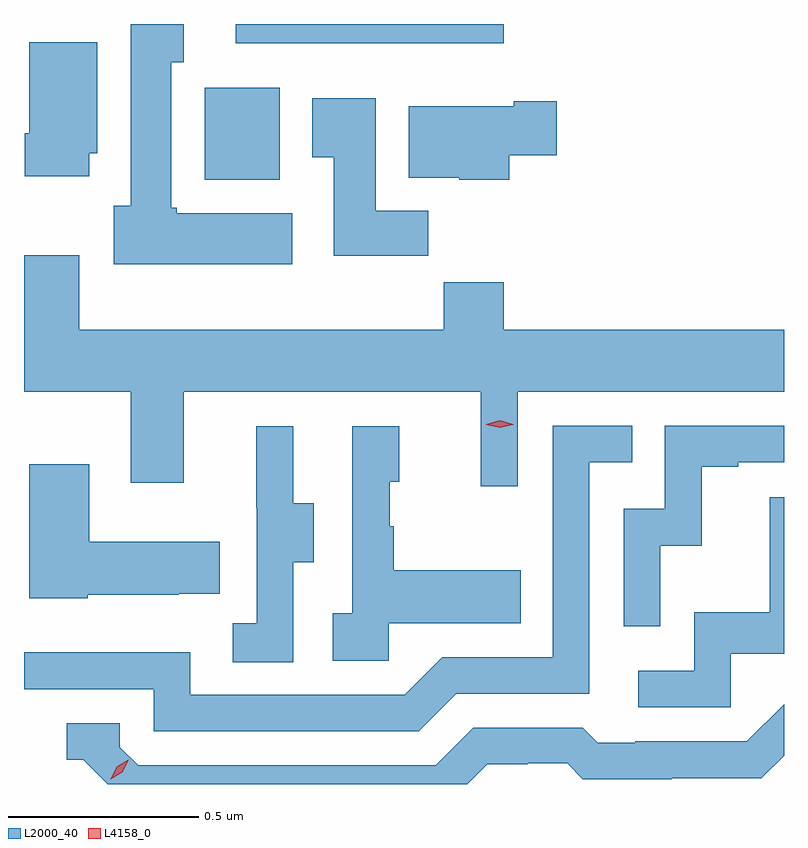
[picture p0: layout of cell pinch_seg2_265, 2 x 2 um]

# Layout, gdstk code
import gdstk
lib = gdstk.Library(unit=1e-6, precision=1e-09)
def R(c, l, rs):  # rectangles x0, y0, x1, y1
    for r in rs: c.add(gdstk.rectangle(r[:2], r[2:], *l))
def P(c, l, *ps):  # polygons
    for p in ps: c.add(gdstk.Polygon(p, *l))
L2000_40 = (2000, 40)
L4158_0 = (4158, 0)

pinch_seg2_265 = lib.new_cell('pinch_seg2_265')
R(pinch_seg2_265, L2000_40, [(897.518,665.51,897.715,665.752), (897.599,665.87,898.304,665.92)])
P(pinch_seg2_265, L2000_40, [(897.748,665.422),(897.444,665.422),(897.444,665.436),(897.43,665.436),(897.43,665.819),(897.463,665.819),(897.463,665.92),(897.323,665.92),(897.323,665.442),(897.278,665.442),(897.278,665.288),(897.748,665.288)],
  [(897.214,665.58),(897.235,665.58),(897.235,665.872),(897.056,665.872),(897.056,665.632),(897.044,665.632),(897.044,665.52),(897.214,665.52)],
  [(898.106,665.428),(897.967,665.428),(897.967,665.725),(897.8,665.725),(897.8,665.569),(897.857,665.569),(897.857,665.31),(898.106,665.31)],
  [(898.319,665.575),(898.444,665.575),(898.444,665.717),(898.331,665.717),(898.331,665.704),(898.055,665.704),(898.055,665.516),(898.188,665.516),(898.188,665.51),(898.319,665.51)],
  [(898.341,664.952),(899.042,664.952),(899.042,665.116),(898.304,665.116),(898.304,665.24),(898.147,665.24),(898.147,665.116),(897.187,665.116),(897.187,665.311),(897.042,665.311),(897.042,664.952),(897.323,664.952),(897.323,664.713),(897.463,664.713),(897.463,664.952),(898.244,664.952),(898.244,664.704),(898.341,664.704)],
  [(898.18,664.158),(898.53,664.158),(898.53,664.767),(898.643,664.767),(898.643,664.863),(898.434,664.863),(898.434,664.254),(898.143,664.254),(898.044,664.155),(897.48,664.155),(897.48,664.267),(897.042,664.267),(897.042,664.17),(897.384,664.17),(897.384,664.059),(898.081,664.059)],
  [(898.716,664.547),(898.826,664.547),(898.826,664.755),(898.921,664.755),(898.921,664.767),(899.042,664.767),(899.042,664.863),(898.728,664.863),(898.728,664.644),(898.62,664.644),(898.62,664.335),(898.716,664.335)],
  [(897.75,664.504),(897.805,664.504),(897.805,664.659),(897.751,664.659),(897.751,664.861),(897.653,664.861),(897.653,664.647),(897.654,664.647),(897.654,664.343),(897.591,664.343),(897.591,664.24),(897.75,664.24)],
  [(898.002,664.343),(898.349,664.343),(898.349,664.483),(898.015,664.483),(898.015,664.598),(898.005,664.598),(898.005,664.716),(898.03,664.716),(898.03,664.861),(897.906,664.861),(897.906,664.37),(897.855,664.37),(897.855,664.245),(898.002,664.245)],
  [(897.21,664.418),(897.449,664.418),(897.449,664.421),(897.557,664.421),(897.557,664.558),(897.214,664.558),(897.214,664.762),(897.056,664.762),(897.056,664.409),(897.21,664.409)],
  [(898.902,664.263),(899.042,664.263),(899.042,664.675),(899.005,664.675),(899.005,664.372),(898.806,664.372),(898.806,664.218),(898.659,664.218),(898.659,664.122),(898.902,664.122)],
  [(898.261,663.972),(898.368,663.972),(898.368,663.975),(898.471,663.975),(898.513,663.933),(898.746,663.933),(898.746,663.935),(898.982,663.935),(899.042,663.995),(899.042,664.13),(898.944,664.032),(898.651,664.032),(898.651,664.029),(898.552,664.029),(898.513,664.068),(898.224,664.068),(898.125,663.969),(897.342,663.969),(897.294,664.017),(897.294,664.08),(897.155,664.08),(897.155,663.984),(897.198,663.984),(897.262,663.92),(898.209,663.92)])
P(pinch_seg2_265, L4158_0, [(898.294,664.857),(898.259,664.866),(898.259,664.867),(898.259,664.867),(898.294,664.877),(898.329,664.867),(898.329,664.867),(898.329,664.866)],
  [(897.27,663.932),(897.27,663.932),(897.286,663.965),(897.316,663.984),(897.317,663.984),(897.317,663.984),(897.301,663.951),(897.27,663.932)])

lib.write_gds('pinch_seg2_265.gds')
